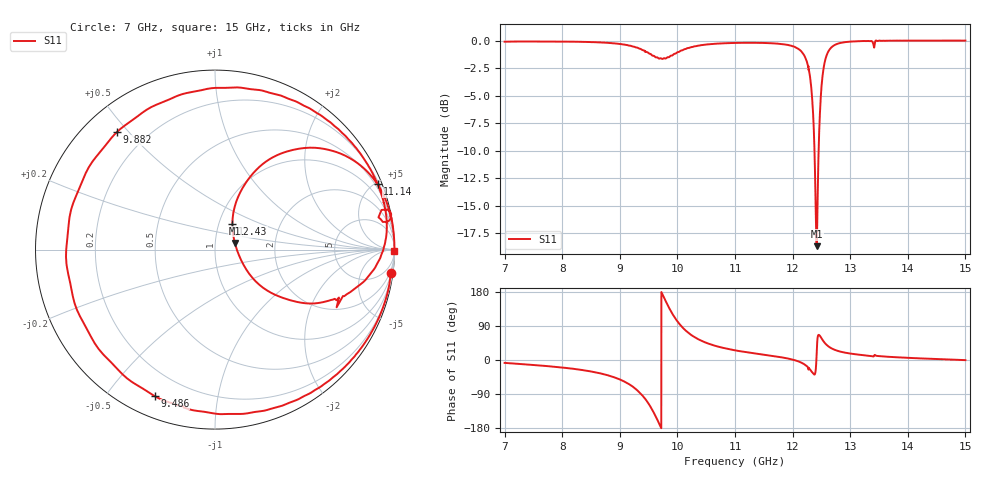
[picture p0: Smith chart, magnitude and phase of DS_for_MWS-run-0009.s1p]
! TOUCHSTONE file generated by CST DESIGN STUDIO
! Date and time: Mon Feb 10 16:49:08 2025
! Project name: C:\Work\MatlabApps\UnitCellType2OptimizationMatlab\CST\unitcell.cst
! Tree item: Tasks\Sweep1\SPara1\S-Parameters
! Header version: 2024
! Port assignment regex: !\s*Touchstone port\s*([0-9]+)\s*=\s*(CST MWS port|CST DES external port|CST DES block port)\s*(.+)\s* \(\"(.*)\"\)(\s*mode\s*([0-9]+))?.*
! Touchstone port assignment:
! Touchstone port 1 = CST DES external port 1 ("")
# GHz S MA R 50
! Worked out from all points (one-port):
!   4001 points, 7 GHz to 15 GHz, reference 50 ohm
!   lowest |S11| = -18.7 dB at 12.42 GHz (marker M1), VSWR 1.26, Z = 62.3 + j4.6 ohm
!   |S11| at or under -10 dB: 12.38 GHz to 12.45 GHz (71.7 MHz wide, 0.578 % of centre)
!   S11 on the Smith chart (normalised r, x): 7 GHz: 1, -15; 9.486 GHz: 0.09, -0.67; 9.882 GHz: 0.10, +0.46; 11.14 GHz: 0.33, +5.15; 12.43 GHz: 1.16, +0.34; 15 GHz: open
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7  0.9881 -7.6
8  0.9895 -19.9
8.624  0.9815 -34.0
9  0.965 -51.3
9.258  0.9358 -74.2
9.486  0.8827 -112.4
9.586  0.8534 -137.7
9.694  0.8293 -171.0
9.784  0.8298 159.1
9.882  0.8527 130.0
10  0.8853 101.8
10.178  0.9244 73.1
10.384  0.9493 53.2
11  0.9754 25.5
11.14  0.9765 21.9
12  0.9424 1.1
12.178  0.8749 -9.0
12.288  0.7214 -22.4
12.358  0.4538 -35.8
12.392  0.2314 -35.1
12.418  0.1166 18.2
12.432  0.1729 56.0
12.494  0.5793 59.3
12.564  0.8121 44.1
12.714  0.949 27.9
13  0.9889 17.1
14  0.9988 5.8
15  0.9995 -0.3
